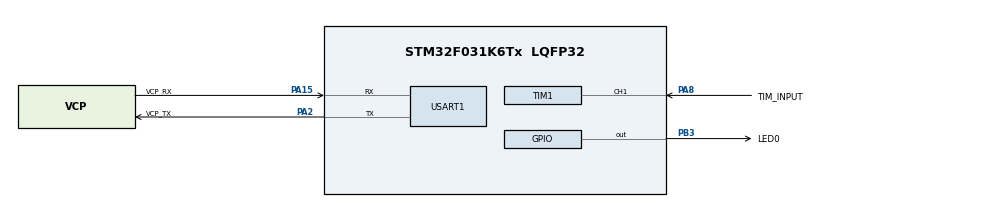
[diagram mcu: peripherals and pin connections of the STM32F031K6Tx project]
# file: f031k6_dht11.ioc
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Mcu.Family=STM32F0
Mcu.Name=STM32F031K6Tx
Mcu.Package=LQFP32
NVIC.TIM1_CC_IRQn=true\:0\:0\:false\:false\:true\:true\:true\:true
PA13.GPIO_Label=SWDIO
PA13.Mode=Serial_Wire
PA13.Signal=SYS_SWDIO
PA14.GPIO_Label=SWCLK
PA14.Mode=Serial_Wire
PA14.Signal=SYS_SWCLK
PA15.GPIO_Label=VCP_RX
PA15.Mode=Asynchronous
PA15.Signal=USART1_RX
PA2.GPIO_Label=VCP_TX
PA2.Mode=Asynchronous
PA2.Signal=USART1_TX
PA8.GPIO_Label=TIM_INPUT
PA8.Signal=S_TIM1_CH1
PB3.GPIO_Label=LED0
PB3.Signal=GPIO_Output
PF0-OSC_IN.Mode=HSE-External-Clock-Source
PF0-OSC_IN.Signal=RCC_OSC_IN
ProjectManager.HeapSize=0x200
ProjectManager.StackSize=0x400
ProjectManager.TargetToolchain=CMake
SH.S_TIM1_CH1.0=TIM1_CH1,TriggerSource_TI1FP1
SH.S_TIM1_CH1.1=TIM1_CH1,Input_Capture1_from_TI1
TIM1.AutoReloadPreload=TIM_AUTORELOAD_PRELOAD_ENABLE
TIM1.Channel-Input_Capture1_from_TI1=TIM_CHANNEL_1
TIM1.Channel-Input_Capture2_from_TI1_63=TIM_CHANNEL_2
TIM1.ICFilter_CH1=1
TIM1.ICPolarity_CH2=TIM_INPUTCHANNELPOLARITY_FALLING
TIM1.Prescaler=8-1
USART1.VirtualMode-Asynchronous=VM_ASYNC
VP_TIM1_VS_ClockSourceINT.Mode=Internal
VP_TIM1_VS_ControllerModeReset.Mode=Reset Mode
VP_TIM1_VS_indirect_ch1.Mode=Input_Capture2_from_TI1_63
board=NUCLEO-F031K6

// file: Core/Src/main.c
/* USER CODE BEGIN Header */
/**
  ******************************************************************************
  * @file           : main.c
  * @brief          : Main program body
  ******************************************************************************
  * @attention
  *
  * Copyright (c) 2025 STMicroelectronics.
  * All rights reserved.
  *
  * This software is licensed under terms that can be found in the LICENSE file
  * in the root directory of this software component.
  * If no LICENSE file comes with this software, it is provided AS-IS.
  *
  ******************************************************************************
  */
/* USER CODE END Header */
#include "main.h"

TIM_HandleTypeDef htim1;

UART_HandleTypeDef huart1;

void SystemClock_Config(void);
static void MX_GPIO_Init(void);
static void MX_USART1_UART_Init(void);
static void MX_TIM1_Init(void);
/* USER CODE BEGIN PFP */
void tim1_ch1_GPIO_Config(void);
/* USER CODE END PFP */

int main(void)
{

  /* MCU Configuration--------------------------------------------------------*/

  /* Reset of all peripherals, Initializes the Flash interface and the Systick. */
  HAL_Init();

  /* Configure the system clock */
  SystemClock_Config();

  /* Initialize all configured peripherals */
  MX_GPIO_Init();
  MX_USART1_UART_Init();
  MX_TIM1_Init();

  /* Infinite loop */
  while (1)
  {

  }
}

void SystemClock_Config(void)
{
  RCC_OscInitTypeDef RCC_OscInitStruct = {0};
  RCC_ClkInitTypeDef RCC_ClkInitStruct = {0};
  RCC_PeriphCLKInitTypeDef PeriphClkInit = {0};

  /** Initializes the RCC Oscillators according to the specified parameters
  * in the RCC_OscInitTypeDef structure.
  */
  RCC_OscInitStruct.OscillatorType = RCC_OSCILLATORTYPE_HSI;
  RCC_OscInitStruct.HSIState = RCC_HSI_ON;
  RCC_OscInitStruct.HSICalibrationValue = RCC_HSICALIBRATION_DEFAULT;
  RCC_OscInitStruct.PLL.PLLState = RCC_PLL_NONE;
  if (HAL_RCC_OscConfig(&RCC_OscInitStruct) != HAL_OK)
  {
    Error_Handler();
  }

  /** Initializes the CPU, AHB and APB buses clocks
  */
  RCC_ClkInitStruct.ClockType = RCC_CLOCKTYPE_HCLK|RCC_CLOCKTYPE_SYSCLK
                              |RCC_CLOCKTYPE_PCLK1;
  RCC_ClkInitStruct.SYSCLKSource = RCC_SYSCLKSOURCE_HSI;
  RCC_ClkInitStruct.AHBCLKDivider = RCC_SYSCLK_DIV1;
  RCC_ClkInitStruct.APB1CLKDivider = RCC_HCLK_DIV1;

  if (HAL_RCC_ClockConfig(&RCC_ClkInitStruct, FLASH_LATENCY_0) != HAL_OK)
  {
    Error_Handler();
  }
  PeriphClkInit.PeriphClockSelection = RCC_PERIPHCLK_USART1;
  PeriphClkInit.Usart1ClockSelection = RCC_USART1CLKSOURCE_PCLK1;
  if (HAL_RCCEx_PeriphCLKConfig(&PeriphClkInit) != HAL_OK)
  {
    Error_Handler();
  }
}

static void MX_TIM1_Init(void)
{

  TIM_ClockConfigTypeDef sClockSourceConfig = {0};
  TIM_SlaveConfigTypeDef sSlaveConfig = {0};
  TIM_MasterConfigTypeDef sMasterConfig = {0};
  TIM_IC_InitTypeDef sConfigIC = {0};

  htim1.Instance = TIM1;
  htim1.Init.Prescaler = 8-1;
  htim1.Init.CounterMode = TIM_COUNTERMODE_UP;
  htim1.Init.Period = 65535;
  htim1.Init.ClockDivision = TIM_CLOCKDIVISION_DIV1;
  htim1.Init.RepetitionCounter = 0;
  htim1.Init.AutoReloadPreload = TIM_AUTORELOAD_PRELOAD_ENABLE;
  if (HAL_TIM_Base_Init(&htim1) != HAL_OK)
  {
    Error_Handler();
  }
  sClockSourceConfig.ClockSource = TIM_CLOCKSOURCE_INTERNAL;
  if (HAL_TIM_ConfigClockSource(&htim1, &sClockSourceConfig) != HAL_OK)
  {
    Error_Handler();
  }
  if (HAL_TIM_IC_Init(&htim1) != HAL_OK)
  {
    Error_Handler();
  }
  sSlaveConfig.SlaveMode = TIM_SLAVEMODE_RESET;
  sSlaveConfig.InputTrigger = TIM_TS_TI1FP1;
  sSlaveConfig.TriggerPolarity = TIM_INPUTCHANNELPOLARITY_RISING;
  sSlaveConfig.TriggerFilter = 0;
  if (HAL_TIM_SlaveConfigSynchro(&htim1, &sSlaveConfig) != HAL_OK)
  {
    Error_Handler();
  }
  sMasterConfig.MasterOutputTrigger = TIM_TRGO_RESET;
  sMasterConfig.MasterSlaveMode = TIM_MASTERSLAVEMODE_DISABLE;
  if (HAL_TIMEx_MasterConfigSynchronization(&htim1, &sMasterConfig) != HAL_OK)
  {
    Error_Handler();
  }
  sConfigIC.ICPolarity = TIM_INPUTCHANNELPOLARITY_RISING;
  sConfigIC.ICSelection = TIM_ICSELECTION_DIRECTTI;
  sConfigIC.ICPrescaler = TIM_ICPSC_DIV1;
  sConfigIC.ICFilter = 1;
  if (HAL_TIM_IC_ConfigChannel(&htim1, &sConfigIC, TIM_CHANNEL_1) != HAL_OK)
  {
    Error_Handler();
  }
  sConfigIC.ICPolarity = TIM_INPUTCHANNELPOLARITY_FALLING;
  sConfigIC.ICSelection = TIM_ICSELECTION_INDIRECTTI;
  sConfigIC.ICFilter = 0;
  if (HAL_TIM_IC_ConfigChannel(&htim1, &sConfigIC, TIM_CHANNEL_2) != HAL_OK)
  {
    Error_Handler();
  }

}

static void MX_USART1_UART_Init(void)
{

  huart1.Instance = USART1;
  huart1.Init.BaudRate = 38400;
  huart1.Init.WordLength = UART_WORDLENGTH_8B;
  huart1.Init.StopBits = UART_STOPBITS_1;
  huart1.Init.Parity = UART_PARITY_NONE;
  huart1.Init.Mode = UART_MODE_TX_RX;
  huart1.Init.HwFlowCtl = UART_HWCONTROL_NONE;
  huart1.Init.OverSampling = UART_OVERSAMPLING_16;
  huart1.Init.OneBitSampling = UART_ONE_BIT_SAMPLE_DISABLE;
  huart1.AdvancedInit.AdvFeatureInit = UART_ADVFEATURE_NO_INIT;
  if (HAL_UART_Init(&huart1) != HAL_OK)
  {
    Error_Handler();
  }

}

static void MX_GPIO_Init(void)
{
  GPIO_InitTypeDef GPIO_InitStruct = {0};

  /* GPIO Ports Clock Enable */
  __HAL_RCC_GPIOF_CLK_ENABLE();
  __HAL_RCC_GPIOA_CLK_ENABLE();
  __HAL_RCC_GPIOB_CLK_ENABLE();

  /*Configure GPIO pin Output Level */
  HAL_GPIO_WritePin(LED0_GPIO_Port, LED0_Pin, GPIO_PIN_RESET);

  /*Configure GPIO pin : LED0_Pin */
  GPIO_InitStruct.Pin = LED0_Pin;
  GPIO_InitStruct.Mode = GPIO_MODE_OUTPUT_PP;
  GPIO_InitStruct.Pull = GPIO_NOPULL;
  GPIO_InitStruct.Speed = GPIO_SPEED_FREQ_LOW;
  HAL_GPIO_Init(LED0_GPIO_Port, &GPIO_InitStruct);

}

/* USER CODE BEGIN 4 */

/*
@brief GPIOA Configuration
*/
void PA8_GPIO_Config(void)
{
  RCC->AHBENR |= RCC_AHBENR_GPIOAEN; //Enable gpioa clock

  GPIOA->MODER &= ~GPIO_MODER_MODER8_Msk; //Clean function
  GPIOA->MODER |= GPIO_MODER_MODER8_1; //Alternate function

  GPIOA->OSPEEDR &= ~GPIO_OSPEEDR_OSPEEDR8_Msk; //Clean speed

  GPIOA->OTYPER &= ~GPIO_OTYPER_OT_8; //Clean outpyt type

  GPIOA->AFR[1] &= ~GPIO_AFRH_AFSEL8_Msk; //Clean AF
}

/*
@brief Configuración de los pines de tim1_ch1
*/
void tim1_ch1_GPIO_Config(void)
{
  //tim1 ch1 pa8 af2
  RCC->AHBENR |= RCC_AHBENR_GPIOAEN; //Enable gpioa clock

  GPIOA->MODER &= ~GPIO_MODER_MODER8_Msk; //Clean function
  GPIOA->MODER |= GPIO_MODER_MODER8_1; //Alternate function

  GPIOA->PUPDR &= ~GPIO_PUPDR_PUPDR8_Msk; //Clean pull

  GPIOA->AFR[1] &= ~GPIO_AFRH_AFSEL8_Msk; //Clean AF
  GPIOA->AFR[1] |= (0b0010<<GPIO_AFRH_AFSEL8_Pos);

}

void HAL_TIM_IC_CaptureCallback(TIM_HandleTypeDef *htim)
{
  if(htim->Instance == TIM1 && htim->Channel == HAL_TIM_ACTIVE_CHANNEL_1)
  {

  }
  else if (htim->Instance == TIM1 && htim->Channel == HAL_TIM_ACTIVE_CHANNEL_2)
  {

  }

  return ;
}

/* USER CODE END 4 */

void Error_Handler(void)
{
  __disable_irq();
  while (1)
  {
  }
}
